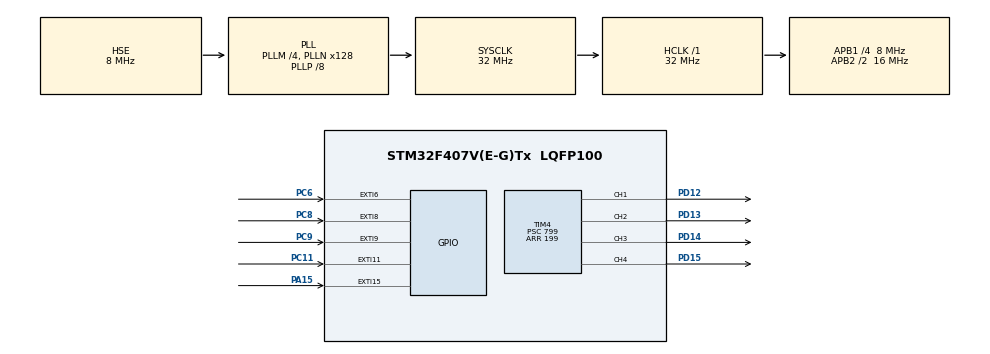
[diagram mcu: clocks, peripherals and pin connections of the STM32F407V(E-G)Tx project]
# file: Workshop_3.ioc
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Mcu.Family=STM32F4
Mcu.Name=STM32F407V(E-G)Tx
Mcu.Package=LQFP100
NVIC.EXTI15_10_IRQn=true\:0\:0\:false\:false\:true\:true\:true
NVIC.EXTI9_5_IRQn=true\:0\:0\:false\:false\:true\:true\:true
NVIC.PriorityGroup=NVIC_PRIORITYGROUP_4
PA13.Mode=Serial_Wire
PA13.Signal=SYS_JTMS-SWDIO
PA14.Mode=Serial_Wire
PA14.Signal=SYS_JTCK-SWCLK
PA15.GPIO_ModeDefaultEXTI=GPIO_MODE_IT_FALLING
PA15.Signal=GPXTI15
PC11.GPIO_ModeDefaultEXTI=GPIO_MODE_IT_FALLING
PC11.Signal=GPXTI11
PC6.GPIO_ModeDefaultEXTI=GPIO_MODE_IT_FALLING
PC6.Signal=GPXTI6
PC8.GPIO_ModeDefaultEXTI=GPIO_MODE_IT_FALLING
PC8.Signal=GPXTI8
PC9.GPIO_ModeDefaultEXTI=GPIO_MODE_IT_FALLING
PC9.Signal=GPXTI9
PD12.Signal=S_TIM4_CH1
PD13.Signal=S_TIM4_CH2
PD14.Signal=S_TIM4_CH3
PD15.Signal=S_TIM4_CH4
PH0-OSC_IN.Mode=HSE-External-Oscillator
PH0-OSC_IN.Signal=RCC_OSC_IN
PH1-OSC_OUT.Mode=HSE-External-Oscillator
PH1-OSC_OUT.Signal=RCC_OSC_OUT
ProjectManager.HeapSize=0x200
ProjectManager.StackSize=0x400
ProjectManager.TargetToolchain=STM32CubeIDE
RCC.48MHZClocksFreq_Value=64000000
RCC.AHBFreq_Value=32000000
RCC.APB1CLKDivider=RCC_HCLK_DIV4
RCC.APB1Freq_Value=8000000
RCC.APB1TimFreq_Value=16000000
RCC.APB2CLKDivider=RCC_HCLK_DIV2
RCC.APB2Freq_Value=16000000
RCC.APB2TimFreq_Value=32000000
RCC.CortexFreq_Value=32000000
RCC.HCLKFreq_Value=32000000
RCC.HSE_VALUE=8000000
RCC.HSI_VALUE=16000000
RCC.LSE_VALUE=32768
RCC.PLLM=4
RCC.PLLN=128
RCC.PLLP=RCC_PLLP_DIV8
RCC.PLLSourceVirtual=RCC_PLLSOURCE_HSE
RCC.SYSCLKFreq_VALUE=32000000
RCC.SYSCLKSource=RCC_SYSCLKSOURCE_PLLCLK
RCC.VCOOutputFreq_Value=256000000
SH.S_TIM4_CH1.0=TIM4_CH1,PWM Generation1 CH1
SH.S_TIM4_CH2.0=TIM4_CH2,PWM Generation2 CH2
SH.S_TIM4_CH3.0=TIM4_CH3,PWM Generation3 CH3
SH.S_TIM4_CH4.0=TIM4_CH4,PWM Generation4 CH4
TIM4.Channel-PWM\ Generation1\ CH1=TIM_CHANNEL_1
TIM4.Channel-PWM\ Generation2\ CH2=TIM_CHANNEL_2
TIM4.Channel-PWM\ Generation3\ CH3=TIM_CHANNEL_3
TIM4.Channel-PWM\ Generation4\ CH4=TIM_CHANNEL_4
TIM4.Period=199
TIM4.Prescaler=799
TIM4.Pulse-PWM\ Generation1\ CH1=100
TIM4.Pulse-PWM\ Generation2\ CH2=100
TIM4.Pulse-PWM\ Generation3\ CH3=100
TIM4.Pulse-PWM\ Generation4\ CH4=100
VP_TIM4_VS_ClockSourceINT.Mode=Internal
board=custom

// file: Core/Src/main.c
/* USER CODE BEGIN Header */
/**
  ******************************************************************************
  * @file           : main.c
  * @brief          : Main program body
  ******************************************************************************
  * @attention
  *
  * <h2><center>&copy; Copyright (c) 2021 STMicroelectronics.
  * All rights reserved.</center></h2>
  *
  * This software component is licensed by ST under BSD 3-Clause license,
  * the "License"; You may not use this file except in compliance with the
  * License. You may obtain a copy of the License at:
  *                        opensource.org/licenses/BSD-3-Clause
  *
  ******************************************************************************
  */
/* USER CODE END Header */
#include "main.h"

/* USER CODE BEGIN Includes */
#include "stm32f4xx_it.h"
/* USER CODE END Includes */

TIM_HandleTypeDef htim4;

void SystemClock_Config(void);
static void MX_GPIO_Init(void);
static void MX_TIM4_Init(void);

int main(void)
{

  /* MCU Configuration--------------------------------------------------------*/

  /* Reset of all peripherals, Initializes the Flash interface and the Systick. */
  HAL_Init();

  /* Configure the system clock */
  SystemClock_Config();

  /* Initialize all configured peripherals */
  MX_GPIO_Init();
  MX_TIM4_Init();

  /* Infinite loop */
  /* USER CODE BEGIN WHILE */
  while (1)
  {
	  TIM4-> ARR= getFreq();
	      switch (getPinNum()) {
	      case 0:
	        HAL_TIM_PWM_Start (& htim4, TIM_CHANNEL_1);
	        HAL_TIM_PWM_Stop (& htim4, TIM_CHANNEL_2 | TIM_CHANNEL_3 | TIM_CHANNEL_4);
	        TIM4-> CCR1 = getCycle();
	        break;
	      case 1:
	        HAL_TIM_PWM_Start (& htim4, TIM_CHANNEL_2);
	        HAL_TIM_PWM_Stop (& htim4, TIM_CHANNEL_1);
	        TIM4-> CCR2 = getCycle();
	        break;
	      case 2:
	        HAL_TIM_PWM_Start (& htim4, TIM_CHANNEL_3);
	        HAL_TIM_PWM_Stop (& htim4, TIM_CHANNEL_2);
	        TIM4-> CCR3 = getCycle();
	        break;
	      case 3:
	        HAL_TIM_PWM_Start (& htim4, TIM_CHANNEL_4);
	        HAL_TIM_PWM_Stop (& htim4, TIM_CHANNEL_3);
	        TIM4-> CCR4 = getCycle();
	        break;
	      case 4:
	        HAL_TIM_PWM_Stop (& htim4, TIM_CHANNEL_4);
	        break;
	      }
    /* USER CODE END WHILE */

  }
}

void SystemClock_Config(void)
{
  RCC_OscInitTypeDef RCC_OscInitStruct = {0};
  RCC_ClkInitTypeDef RCC_ClkInitStruct = {0};

  /** Configure the main internal regulator output voltage
  */
  __HAL_RCC_PWR_CLK_ENABLE();
  __HAL_PWR_VOLTAGESCALING_CONFIG(PWR_REGULATOR_VOLTAGE_SCALE1);
  /** Initializes the RCC Oscillators according to the specified parameters
  * in the RCC_OscInitTypeDef structure.
  */
  RCC_OscInitStruct.OscillatorType = RCC_OSCILLATORTYPE_HSE;
  RCC_OscInitStruct.HSEState = RCC_HSE_ON;
  RCC_OscInitStruct.PLL.PLLState = RCC_PLL_ON;
  RCC_OscInitStruct.PLL.PLLSource = RCC_PLLSOURCE_HSE;
  RCC_OscInitStruct.PLL.PLLM = 4;
  RCC_OscInitStruct.PLL.PLLN = 128;
  RCC_OscInitStruct.PLL.PLLP = RCC_PLLP_DIV8;
  RCC_OscInitStruct.PLL.PLLQ = 4;
  if (HAL_RCC_OscConfig(&RCC_OscInitStruct) != HAL_OK)
  {
    Error_Handler();
  }
  /** Initializes the CPU, AHB and APB buses clocks
  */
  RCC_ClkInitStruct.ClockType = RCC_CLOCKTYPE_HCLK|RCC_CLOCKTYPE_SYSCLK
                              |RCC_CLOCKTYPE_PCLK1|RCC_CLOCKTYPE_PCLK2;
  RCC_ClkInitStruct.SYSCLKSource = RCC_SYSCLKSOURCE_PLLCLK;
  RCC_ClkInitStruct.AHBCLKDivider = RCC_SYSCLK_DIV1;
  RCC_ClkInitStruct.APB1CLKDivider = RCC_HCLK_DIV4;
  RCC_ClkInitStruct.APB2CLKDivider = RCC_HCLK_DIV2;

  if (HAL_RCC_ClockConfig(&RCC_ClkInitStruct, FLASH_LATENCY_1) != HAL_OK)
  {
    Error_Handler();
  }
}

static void MX_TIM4_Init(void)
{

  TIM_ClockConfigTypeDef sClockSourceConfig = {0};
  TIM_MasterConfigTypeDef sMasterConfig = {0};
  TIM_OC_InitTypeDef sConfigOC = {0};

  htim4.Instance = TIM4;
  htim4.Init.Prescaler = 799;
  htim4.Init.CounterMode = TIM_COUNTERMODE_UP;
  htim4.Init.Period = 199;
  htim4.Init.ClockDivision = TIM_CLOCKDIVISION_DIV1;
  htim4.Init.AutoReloadPreload = TIM_AUTORELOAD_PRELOAD_DISABLE;
  if (HAL_TIM_Base_Init(&htim4) != HAL_OK)
  {
    Error_Handler();
  }
  sClockSourceConfig.ClockSource = TIM_CLOCKSOURCE_INTERNAL;
  if (HAL_TIM_ConfigClockSource(&htim4, &sClockSourceConfig) != HAL_OK)
  {
    Error_Handler();
  }
  if (HAL_TIM_PWM_Init(&htim4) != HAL_OK)
  {
    Error_Handler();
  }
  sMasterConfig.MasterOutputTrigger = TIM_TRGO_RESET;
  sMasterConfig.MasterSlaveMode = TIM_MASTERSLAVEMODE_DISABLE;
  if (HAL_TIMEx_MasterConfigSynchronization(&htim4, &sMasterConfig) != HAL_OK)
  {
    Error_Handler();
  }
  sConfigOC.OCMode = TIM_OCMODE_PWM1;
  sConfigOC.Pulse = 100;
  sConfigOC.OCPolarity = TIM_OCPOLARITY_HIGH;
  sConfigOC.OCFastMode = TIM_OCFAST_DISABLE;
  if (HAL_TIM_PWM_ConfigChannel(&htim4, &sConfigOC, TIM_CHANNEL_1) != HAL_OK)
  {
    Error_Handler();
  }
  if (HAL_TIM_PWM_ConfigChannel(&htim4, &sConfigOC, TIM_CHANNEL_2) != HAL_OK)
  {
    Error_Handler();
  }
  if (HAL_TIM_PWM_ConfigChannel(&htim4, &sConfigOC, TIM_CHANNEL_3) != HAL_OK)
  {
    Error_Handler();
  }
  if (HAL_TIM_PWM_ConfigChannel(&htim4, &sConfigOC, TIM_CHANNEL_4) != HAL_OK)
  {
    Error_Handler();
  }
  HAL_TIM_MspPostInit(&htim4);

}

static void MX_GPIO_Init(void)
{
  GPIO_InitTypeDef GPIO_InitStruct = {0};

  /* GPIO Ports Clock Enable */
  __HAL_RCC_GPIOH_CLK_ENABLE();
  __HAL_RCC_GPIOD_CLK_ENABLE();
  __HAL_RCC_GPIOC_CLK_ENABLE();
  __HAL_RCC_GPIOA_CLK_ENABLE();

  /*Configure GPIO pins : PC6 PC8 PC9 PC11 */
  GPIO_InitStruct.Pin = GPIO_PIN_6|GPIO_PIN_8|GPIO_PIN_9|GPIO_PIN_11;
  GPIO_InitStruct.Mode = GPIO_MODE_IT_FALLING;
  GPIO_InitStruct.Pull = GPIO_NOPULL;
  HAL_GPIO_Init(GPIOC, &GPIO_InitStruct);

  /*Configure GPIO pin : PA15 */
  GPIO_InitStruct.Pin = GPIO_PIN_15;
  GPIO_InitStruct.Mode = GPIO_MODE_IT_FALLING;
  GPIO_InitStruct.Pull = GPIO_NOPULL;
  HAL_GPIO_Init(GPIOA, &GPIO_InitStruct);

  /* EXTI interrupt init*/
  HAL_NVIC_SetPriority(EXTI9_5_IRQn, 0, 0);
  HAL_NVIC_EnableIRQ(EXTI9_5_IRQn);

  HAL_NVIC_SetPriority(EXTI15_10_IRQn, 0, 0);
  HAL_NVIC_EnableIRQ(EXTI15_10_IRQn);

}

void Error_Handler(void)
{
  /* USER CODE BEGIN Error_Handler_Debug */
  /* User can add his own implementation to report the HAL error return state */
	/* __disable_irq();
  while (1)
  {
  }*/
  /* USER CODE END Error_Handler_Debug */
}

/************************ (C) COPYRIGHT STMicroelectronics *****END OF FILE****/
